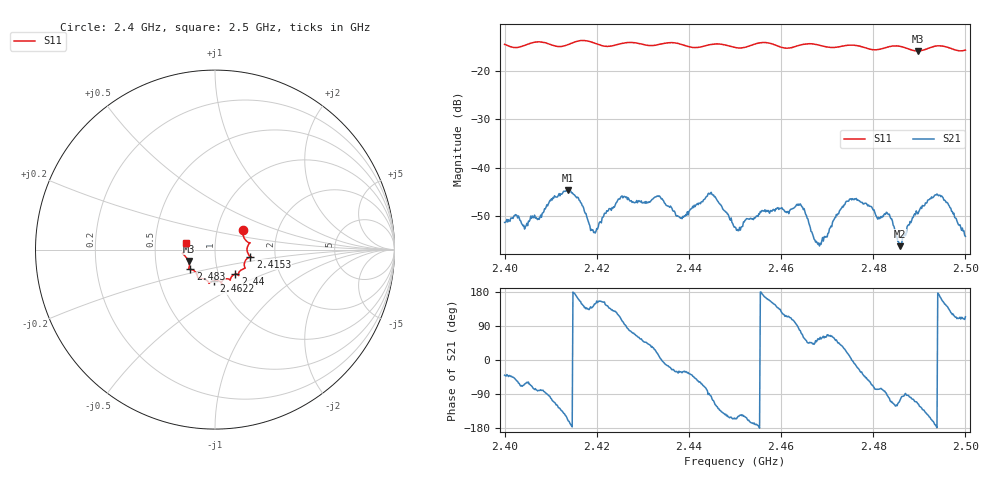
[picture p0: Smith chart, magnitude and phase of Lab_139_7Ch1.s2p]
# Hz S RI R 50
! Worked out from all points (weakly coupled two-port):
!   601 points, 2.4 GHz to 2.5 GHz, reference 50 ohm
!   highest |S21| = -44.61 dB at 2.4137 GHz (marker M1); lowest = -56.2 dB at 2.4858 GHz (marker M2)
!   lowest |S11| = -15.9 dB at 2.4897 GHz (marker M3), VSWR 1.38, Z = 36.9 - j4.81 ohm
!   |S11| at or under -10 dB: start of sweep to end of sweep
!   S12 and S22 are empty: the file has one direction only
!   S11 on the Smith chart (normalised r, x): 2.4 GHz: 1.33, +0.29; 2.4153 GHz: 1.48, -0.12; 2.44 GHz: 1.20, -0.34; 2.4622 GHz: 0.93, -0.33; 2.483 GHz: 0.74, -0.17; 2.5 GHz: 0.72, +0.06
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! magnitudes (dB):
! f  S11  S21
! 2.4 GHz  -14.5  -51.3
! 2.4045 GHz  -14.7  -52.2
! 2.4137 GHz  -14.6  -44.6
! 2.4153 GHz  -14.0  -45.8
! 2.4167 GHz  -13.7  -47.3
! 2.4193 GHz  -14.2  -53.4
! 2.4252 GHz  -14.4  -46.1
! 2.4333 GHz  -14.6  -45.9
! 2.44 GHz  -15.0  -49.0
! 2.4448 GHz  -14.5  -45.1
! 2.45 GHz  -15.1  -52.2
! 2.4622 GHz  -15.2  -48.5
! 2.4645 GHz  -14.6  -48.0
! 2.4667 GHz  -14.4  -53.2
! 2.4687 GHz  -14.8  -55.8
! 2.4753 GHz  -14.7  -46.6
! 2.483 GHz  -15.1  -49.2
! 2.4833 GHz  -15.0  -49.6
! 2.4858 GHz  -14.9  -56.2
! 2.4897 GHz  -15.9  -49.5
! 2.4943 GHz  -14.8  -45.6
! 2.5 GHz  -15.7  -54.1
